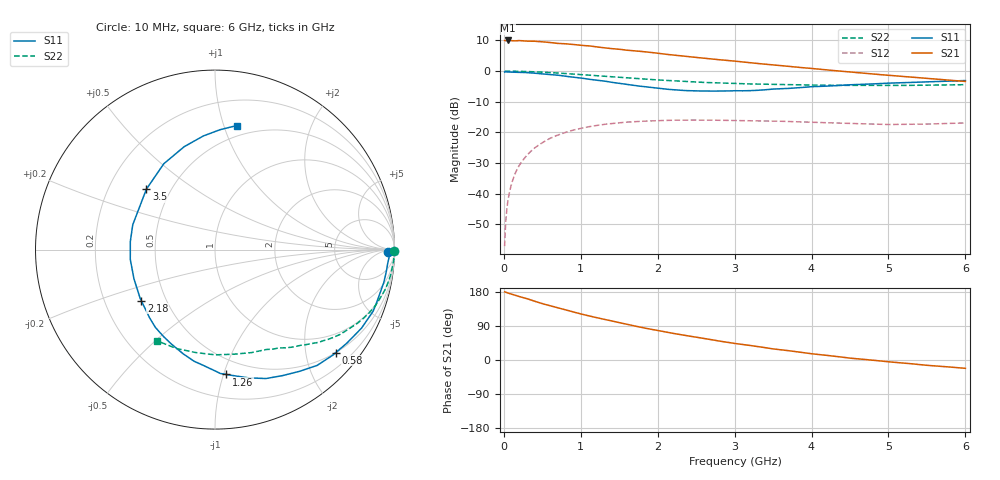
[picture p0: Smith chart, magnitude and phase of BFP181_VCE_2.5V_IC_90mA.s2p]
! Infineon Technologies  Discrete & RF Semiconductors
! BFP181
! VCE = 2.5 V,  IC =  90 mA
! Common Emitter S-Parameters:  Jan 2016
# GHz  S  MA  R  50
!  f  S11  S21  S12  S22
! GHz  MAG  ANG  MAG  ANG  MAG  ANG  MAG  ANG
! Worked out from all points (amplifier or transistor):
!   210 points, 10 MHz to 6 GHz, reference 50 ohm
!   highest |S21| = 10.0 dB at 50 MHz (marker M1)
!   |S21| within 3 dB of that: start of sweep to 1.544 GHz
!   unconditionally stable (mu >= 1): 3.115 GHz to end of sweep
!   at 185 MHz: K = 0.07, MSG = 20.7 dB, |S12| = -31.4 dB
!   at 1.52 GHz: K = 0.52, MSG = 11.9 dB, |S12| = -16.8 dB
!   at 6 GHz: K = 1.32, MAG = 3.4 dB, |S12| = -16.9 dB
!   S11 on the Smith chart (normalised r, x): 10 MHz: 49, -19; 580 MHz: 0.50, -2.63; 1.26 GHz: 0.38, -1.02; 2.18 GHz: 0.36, -0.27; 3.5 GHz: 0.37, +0.33; 6 GHz: 0.41, +1.11
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0.01  0.9654 -0.8  3.155 179.7  0.0014 80.0  0.9978 -0.3
0.025  0.9723 -2.0  3.134 178.9  0.0035 90.8  0.9924 -0.8
0.05  0.9675 -3.4  3.159 176.9  0.0073 90.5  0.9964 -1.7
0.12  0.9606 -8.6  3.122 172.6  0.0174 83.4  0.9963 -4.0
0.22  0.9498 -15.7  3.132 166.3  0.0316 79.7  0.9904 -7.3
0.4  0.9263 -28.2  3.068 155.0  0.0558 71.2  0.9744 -13.1
0.58  0.8845 -40.5  2.944 144.4  0.0776 62.8  0.9491 -18.6
0.8  0.8263 -55.1  2.791 132.2  0.0999 54.0  0.9132 -24.6
1.02  0.7651 -69.7  2.624 120.6  0.118 45.7  0.8714 -30.1
1.1  0.7393 -75.2  2.588 116.3  0.1239 43.1  0.8576 -31.9
1.26  0.6984 -84.9  2.434 109.3  0.133 37.5  0.83 -35.5
1.5  0.6329 -100.6  2.276 98.4  0.1434 31.0  0.7895 -39.9
1.76  0.57 -117.8  2.107 87.2  0.1512 24.7  0.7498 -44.3
2.02  0.5227 -134.9  1.941 77.1  0.1559 19.2  0.7155 -48.2
2.18  0.4998 -145.3  1.838 71.1  0.158 15.9  0.6982 -50.9
2.62  0.474 -174.6  1.612 56.2  0.1587 9.0  0.6524 -57.2
3.1  0.4775 158.1  1.411 41.1  0.1558 2.9  0.6215 -64.3
3.5  0.5095 138.6  1.266 29.3  0.1536 -0.6  0.6086 -70.6
4.1  0.5624 117.8  1.074 14.4  0.1453 -4.0  0.5896 -81.7
4.5  0.5984 106.7  0.968 4.9  0.1402 -5.3  0.5864 -89.9
5.1  0.6416 94.2  0.834 -6.4  0.1351 -3.8  0.5835 -102.7
6  0.7019 80.0  0.678 -22.0  0.1429 -0.3  0.6018 -122.3
